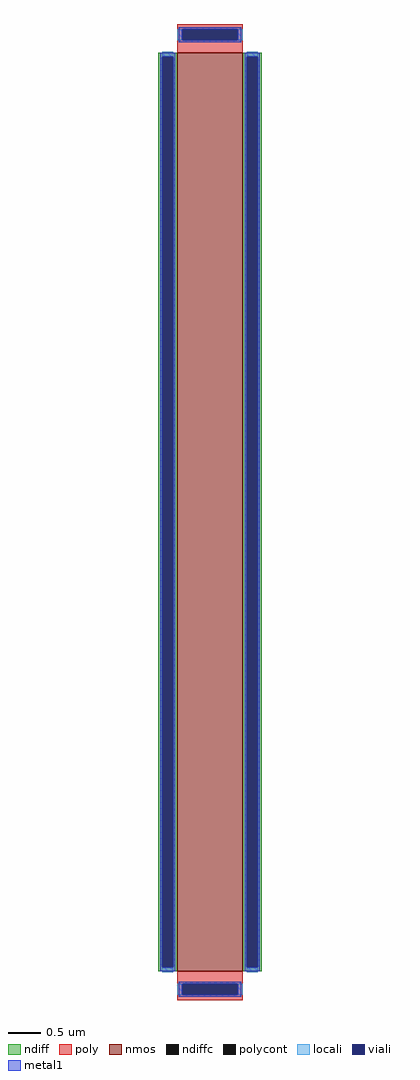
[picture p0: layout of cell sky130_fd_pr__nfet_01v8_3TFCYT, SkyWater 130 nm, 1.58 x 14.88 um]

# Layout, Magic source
magic
tech sky130A
<< nmos >>
rect -50 -700 50 700
<< ndiff >>
rect -79 694 -50 700
rect -79 -694 -73 694
rect -56 -694 -50 694
rect -79 -700 -50 -694
rect 50 694 79 700
rect 50 -694 56 694
rect 73 -694 79 694
rect 50 -700 79 -694
<< ndiffc >>
rect -73 -694 -56 694
rect 56 -694 73 694
<< poly >>
rect -50 736 50 744
rect -50 719 -42 736
rect 42 719 50 736
rect -50 700 50 719
rect -50 -719 50 -700
rect -50 -736 -42 -719
rect 42 -736 50 -719
rect -50 -744 50 -736
<< polycont >>
rect -42 719 42 736
rect -42 -736 42 -719
<< locali >>
rect -50 719 -42 736
rect 42 719 50 736
rect -73 694 -56 702
rect -73 -702 -56 -694
rect 56 694 73 702
rect 56 -702 73 -694
rect -50 -736 -42 -719
rect 42 -736 50 -719
<< viali >>
rect -42 719 42 736
rect -73 -694 -56 694
rect 56 -694 73 694
rect -42 -736 42 -719
<< metal1 >>
rect -48 736 48 739
rect -48 719 -42 736
rect 42 719 48 736
rect -48 716 48 719
rect -76 694 -53 700
rect -76 -694 -73 694
rect -56 -694 -53 694
rect -76 -700 -53 -694
rect 53 694 76 700
rect 53 -694 56 694
rect 73 -694 76 694
rect 53 -700 76 -694
rect -48 -719 48 -716
rect -48 -736 -42 -719
rect 42 -736 48 -719
rect -48 -739 48 -736
<< properties >>
string gencell sky130_fd_pr__nfet_01v8
string library sky130
string parameters w 14.0 l 1.0 m 1 nf 1 diffcov 100 polycov 100 guard 0 glc 0 grc 0 gtc 0 gbc 0 tbcov 100 rlcov 100 topc 1 botc 1 poverlap 0 doverlap 1 lmin 0.15 wmin 0.42 compatible {sky130_fd_pr__nfet_01v8 sky130_fd_pr__nfet_01v8_lvt  sky130_fd_bs_flash__special_sonosfet_star  sky130_fd_pr__nfet_g5v0d10v5 sky130_fd_pr__nfet_05v0_nvt  sky130_fd_pr__nfet_03v3_nvt} full_metal 0 viasrc 100 viadrn 100 viagate 100 viagb 0 viagr 0 viagl 0 viagt 0
<< end >>
